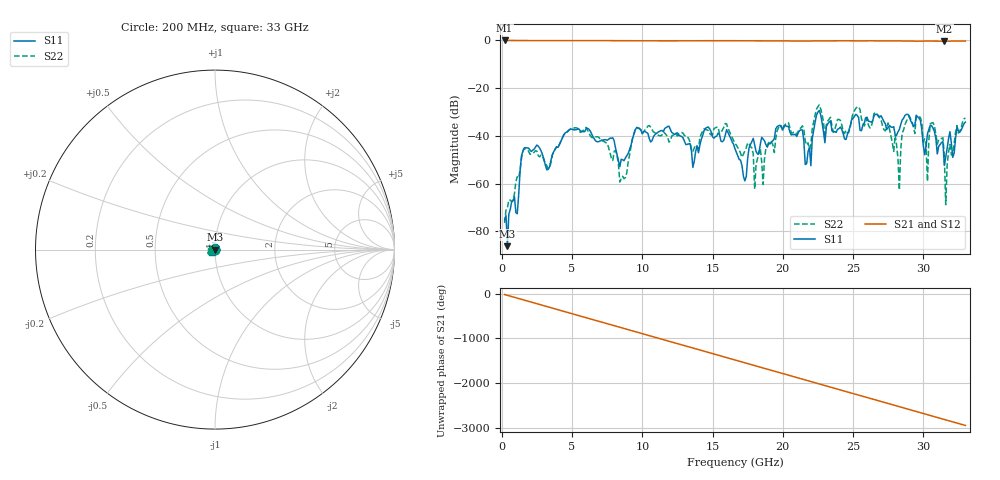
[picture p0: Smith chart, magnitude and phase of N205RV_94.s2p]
# GHZ S RI R 50
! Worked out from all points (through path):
!   329 points, 200 MHz to 33 GHz, reference 50 ohm
!   highest |S21| = -0.02 dB at 200 MHz (marker M1); lowest = -0.3 dB at 31.5 GHz (marker M2)
!   group delay of S21, straight-line fit = 248 ps
!   lowest |S11| = -86.2 dB at 400 MHz (marker M3), VSWR 1.00, Z = 50 + j0.000949 ohm
!   |S11| at or under -10 dB: start of sweep to end of sweep
!   |S22| runs from -76.5 to -27.0 dB; largest |S21 - S12| = 0.0019
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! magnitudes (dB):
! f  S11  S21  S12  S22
! 200 MHz  -75.2  0.0  0.0  -76.5
! 400 MHz  -86.2  0.0  0.0  -70.3
! 1.6 GHz  -45.0  -0.1  -0.1  -45.4
! 5.7 GHz  -38.2  -0.1  -0.1  -38.1
! 8.4 GHz  -52.9  -0.1  -0.1  -59.3
! 11.2 GHz  -38.2  -0.2  -0.2  -39.8
! 16.6 GHz  -45.4  -0.1  -0.1  -43.1
! 17.8 GHz  -42.4  -0.2  -0.2  -45.0
! 18 GHz  -43.8  -0.2  -0.2  -62.3
! 19.8 GHz  -35.5  -0.2  -0.2  -35.7
! 22.1 GHz  -41.1  -0.2  -0.2  -36.8
! 27.6 GHz  -35.7  -0.2  -0.2  -37.2
! 28.3 GHz  -37.3  -0.2  -0.2  -62.7
! 28.5 GHz  -33.3  -0.2  -0.2  -38.8
! 29 GHz  -31.6  -0.3  -0.3  -31.7
! 29.8 GHz  -33.6  -0.3  -0.3  -32.3
! 30.3 GHz  -39.2  -0.3  -0.3  -59.0
! 30.5 GHz  -35.5  -0.3  -0.3  -34.9
! 31.5 GHz  -52.3  -0.3  -0.3  -48.2
! 31.6 GHz  -48.9  -0.3  -0.3  -68.8
! 31.9 GHz  -38.2  -0.3  -0.3  -43.6
! 33 GHz  -34.2  -0.3  -0.3  -32.5
